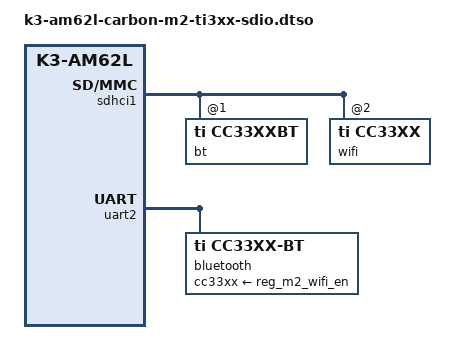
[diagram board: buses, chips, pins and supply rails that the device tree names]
// SPDX-License-Identifier: GPL-2.0
/*
 * M.2 SDIO TI CC33xx module
 *
 * Copyright (C) 2024 Ezurio LLC
 */

/dts-v1/;
/plugin/;

#include "k3-am62l-carbon-m2-sdio.dtsi"

&reg_m2_wifi_en {
	startup-delay-us = <10000>;
};

&sdhci1 { /* SDIO_A uSD / M.2_SDIO */
	cap-power-off-card;

	#address-cells = <1>;
	#size-cells = <0>;

	bt@1 {
		reg = <1>;
		compatible = "ti,cc33xxbt";
	};

	wifi@2 {
		reg = <2>;
		compatible = "ti,cc33xx";
	};
};

&uart2 {
	bluetooth {
		compatible = "ti,cc33xx-bt";
		cc33xx-supply = <&reg_m2_wifi_en>;
		max-speed = <115200>;
	};
};
